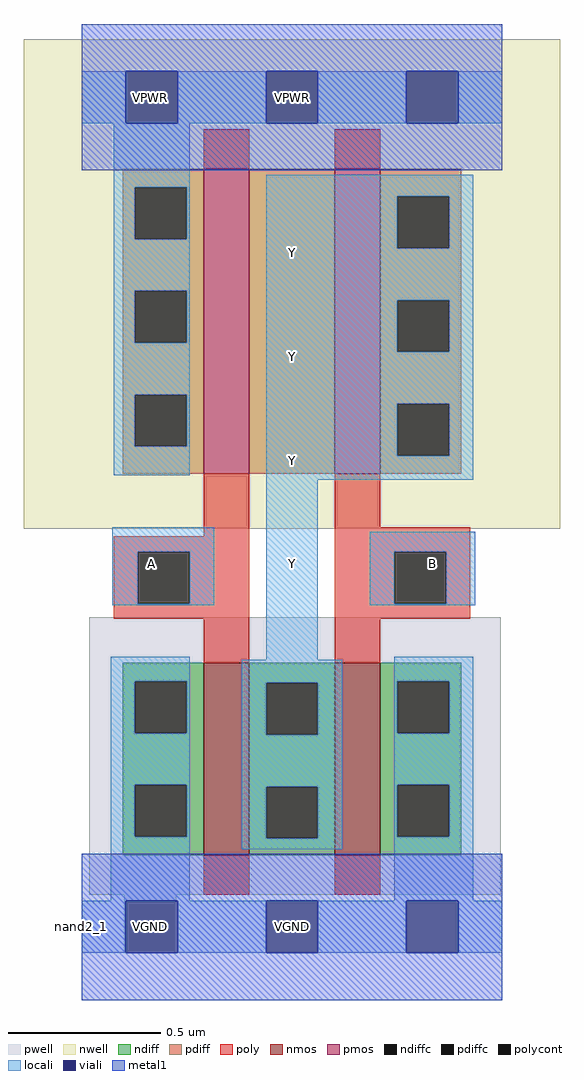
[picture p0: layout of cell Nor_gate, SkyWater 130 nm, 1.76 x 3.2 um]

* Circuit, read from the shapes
.subckt Nor_gate VGND VNB VPB VPWR A B Y
XM1 Y A VGND VNB sky130_fd_pr__nfet_01v8 w=0.63 l=0.15
XM2 VGND B Y VNB sky130_fd_pr__nfet_01v8 w=0.63 l=0.15
XM3 n1 A VPWR VPB sky130_fd_pr__pfet_01v8 w=1 l=0.15
XM4 Y B n1 VPB sky130_fd_pr__pfet_01v8 w=1 l=0.15
.ends

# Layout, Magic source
magic
tech sky130A
magscale 1 2
<< nwell >>
rect -38 261 314 582
<< pwell >>
rect 5 21 275 203
rect 28 -17 62 21
<< nmos >>
rect 80 47 110 173
rect 166 47 196 173
<< pmos >>
rect 80 297 110 497
rect 166 297 196 497
<< ndiff >>
rect 27 161 80 173
rect 27 127 35 161
rect 69 127 80 161
rect 27 93 80 127
rect 27 59 35 93
rect 69 59 80 93
rect 27 47 80 59
rect 110 160 166 173
rect 110 126 121 160
rect 155 126 166 160
rect 110 92 166 126
rect 110 58 121 92
rect 155 58 166 92
rect 110 47 166 58
rect 196 161 249 173
rect 196 127 207 161
rect 241 127 249 161
rect 196 93 249 127
rect 196 59 207 93
rect 241 59 249 93
rect 196 47 249 59
<< pdiff >>
rect 27 485 80 497
rect 27 451 35 485
rect 69 451 80 485
rect 27 417 80 451
rect 27 383 35 417
rect 69 383 80 417
rect 27 349 80 383
rect 27 315 35 349
rect 69 315 80 349
rect 27 297 80 315
rect 110 297 166 497
rect 196 479 249 497
rect 196 445 207 479
rect 241 445 249 479
rect 196 411 249 445
rect 196 377 207 411
rect 241 377 249 411
rect 196 343 249 377
rect 196 309 207 343
rect 241 309 249 343
rect 196 297 249 309
<< ndiffc >>
rect 35 127 69 161
rect 35 59 69 93
rect 121 126 155 160
rect 121 58 155 92
rect 207 127 241 161
rect 207 59 241 93
<< pdiffc >>
rect 35 451 69 485
rect 35 383 69 417
rect 35 315 69 349
rect 207 445 241 479
rect 207 377 241 411
rect 207 309 241 343
<< poly >>
rect 80 497 110 523
rect 166 497 196 523
rect 80 256 110 297
rect 21 246 110 256
rect 21 212 37 246
rect 71 212 110 246
rect 21 202 110 212
rect 80 173 110 202
rect 166 262 196 297
rect 166 246 255 262
rect 166 212 205 246
rect 239 212 255 246
rect 166 202 255 212
rect 166 173 196 202
rect 80 21 110 47
rect 166 21 196 47
<< polycont >>
rect 37 212 71 246
rect 205 212 239 246
<< locali >>
rect 0 527 29 561
rect 63 527 121 561
rect 155 527 213 561
rect 247 527 276 561
rect 21 485 71 527
rect 21 451 35 485
rect 69 451 71 485
rect 21 417 71 451
rect 21 383 35 417
rect 69 383 71 417
rect 21 349 71 383
rect 21 315 35 349
rect 69 315 71 349
rect 21 296 71 315
rect 121 479 257 493
rect 121 445 207 479
rect 241 445 257 479
rect 121 411 257 445
rect 121 377 207 411
rect 241 377 257 411
rect 121 343 257 377
rect 121 309 207 343
rect 241 309 257 343
rect 121 293 257 309
rect 20 246 87 262
rect 20 212 37 246
rect 71 212 87 246
rect 20 211 87 212
rect 19 161 71 177
rect 121 175 155 293
rect 189 246 258 259
rect 189 212 205 246
rect 239 212 258 246
rect 189 211 258 212
rect 19 127 35 161
rect 69 127 71 161
rect 19 93 71 127
rect 19 59 35 93
rect 69 59 71 93
rect 19 17 71 59
rect 105 160 171 175
rect 105 126 121 160
rect 155 126 171 160
rect 105 92 171 126
rect 105 58 121 92
rect 155 58 171 92
rect 105 51 171 58
rect 205 161 257 177
rect 205 127 207 161
rect 241 127 257 161
rect 205 93 257 127
rect 205 59 207 93
rect 241 59 257 93
rect 205 17 257 59
rect 0 -17 29 17
rect 63 -17 121 17
rect 155 -17 213 17
rect 247 -17 276 17
<< viali >>
rect 29 527 63 561
rect 121 527 155 561
rect 213 527 247 561
rect 29 -17 63 17
rect 121 -17 155 17
rect 213 -17 247 17
<< metal1 >>
rect 0 561 276 592
rect 0 527 29 561
rect 63 527 121 561
rect 155 527 213 561
rect 247 527 276 561
rect 0 496 276 527
rect 0 17 276 48
rect 0 -17 29 17
rect 63 -17 121 17
rect 155 -17 213 17
rect 247 -17 276 17
rect 0 -48 276 -17
<< labels >>
flabel metal1 s 28 527 62 561 0 FreeSans 200 0 0 0 VPWR
port 6 nsew power bidirectional abutment
rlabel metal1 s 0 496 276 592 1 VPWR
port 6 nsew power bidirectional abutment
rlabel metal1 s 0 -48 276 48 1 VGND
port 3 nsew ground bidirectional abutment
rlabel comment s 0 0 0 0 4 nand2_1
rlabel locali 29 221 63 255 1 A
port 7 n signal input
flabel metal1 s 28 -17 62 17 0 FreeSans 200 0 0 0 VGND
port 3 nsew ground bidirectional abutment
flabel pwell s 28 -17 62 17 0 FreeSans 200 0 0 0 VNB
port 4 nsew ground bidirectional
flabel nwell s 28 527 62 561 0 FreeSans 200 0 0 0 VPB
port 5 nsew power bidirectional
rlabel locali 213 221 247 255 1 B
port 10 n signal input
rlabel locali 121 289 155 323 1 Y
port 11 n signal output
rlabel locali 121 357 155 391 1 Y
port 11 n signal output
rlabel locali 121 221 155 255 1 Y
port 11 n signal output
rlabel locali 121 425 155 459 1 Y
port 11 n signal output
<< properties >>
string FIXED_BBOX 0 0 276 544
<< end >>
